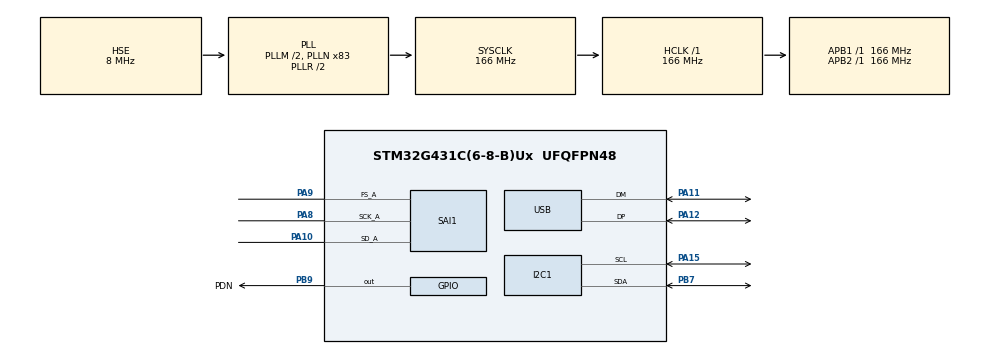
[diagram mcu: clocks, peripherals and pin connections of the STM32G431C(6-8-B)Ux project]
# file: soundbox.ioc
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Dma.Request0=SAI1_A
Dma.SAI1_A.0.Direction=DMA_MEMORY_TO_PERIPH
Dma.SAI1_A.0.EventEnable=DISABLE
Dma.SAI1_A.0.Instance=DMA1_Channel1
Dma.SAI1_A.0.MemDataAlignment=DMA_MDATAALIGN_WORD
Dma.SAI1_A.0.MemInc=DMA_MINC_ENABLE
Dma.SAI1_A.0.Mode=DMA_CIRCULAR
Dma.SAI1_A.0.PeriphDataAlignment=DMA_PDATAALIGN_WORD
Dma.SAI1_A.0.PeriphInc=DMA_PINC_DISABLE
Dma.SAI1_A.0.Polarity=HAL_DMAMUX_REQ_GEN_RISING
Dma.SAI1_A.0.Priority=DMA_PRIORITY_LOW
Dma.SAI1_A.0.RequestNumber=1
Dma.SAI1_A.0.SignalID=NONE
Dma.SAI1_A.0.SyncEnable=DISABLE
Dma.SAI1_A.0.SyncPolarity=HAL_DMAMUX_SYNC_NO_EVENT
Dma.SAI1_A.0.SyncRequestNumber=1
Dma.SAI1_A.0.SyncSignalID=NONE
I2C1.Timing=0x00503D58
Mcu.Family=STM32G4
Mcu.Name=STM32G431C(6-8-B)Ux
Mcu.Package=UFQFPN48
NVIC.DMA1_Channel1_IRQn=true\:0\:0\:false\:false\:true\:false\:true\:true
NVIC.PriorityGroup=NVIC_PRIORITYGROUP_4
NVIC.SAI1_IRQn=true\:0\:0\:false\:false\:true\:true\:true\:true
NVIC.USB_HP_IRQn=true\:0\:0\:false\:false\:true\:true\:true\:true
NVIC.USB_LP_IRQn=true\:0\:0\:false\:false\:true\:false\:true\:true
PA10.Mode=SAI_A_Master
PA10.Signal=SAI1_SD_A
PA11.Mode=Device
PA11.Signal=USB_DM
PA12.Mode=Device
PA12.Signal=USB_DP
PA13.Mode=Serial_Wire
PA13.Signal=SYS_JTMS-SWDIO
PA14.Mode=Serial_Wire
PA14.Signal=SYS_JTCK-SWCLK
PA15.Mode=I2C
PA15.Signal=I2C1_SCL
PA8.Mode=SAI_A_Master
PA8.Signal=SAI1_SCK_A
PA9.Mode=SAI_A_Master
PA9.Signal=SAI1_FS_A
PB7.Mode=I2C
PB7.Signal=I2C1_SDA
PB9.GPIO_FM9=SYSCFG_FASTMODEPLUS_PB9
PB9.GPIO_Label=PDN
PB9.GPIO_PuPd=GPIO_PULLDOWN
PB9.GPIO_Speed=GPIO_SPEED_FREQ_VERY_HIGH
PB9.Signal=GPIO_Output
PF0-OSC_IN.Mode=HSE-External-Oscillator
PF0-OSC_IN.Signal=RCC_OSC_IN
PF1-OSC_OUT.Mode=HSE-External-Oscillator
PF1-OSC_OUT.Signal=RCC_OSC_OUT
ProjectManager.HeapSize=0x200
ProjectManager.StackSize=0x400
ProjectManager.TargetToolchain=CMake
RCC.ADC12Freq_Value=166000000
RCC.AHBFreq_Value=166000000
RCC.APB1Freq_Value=166000000
RCC.APB1TimFreq_Value=166000000
RCC.APB2Freq_Value=166000000
RCC.APB2TimFreq_Value=166000000
RCC.CK48CLockSelection=RCC_USBCLKSOURCE_HSI48
RCC.CortexFreq_Value=166000000
RCC.EXTERNAL_CLOCK_VALUE=12288000
RCC.HCLKFreq_Value=166000000
RCC.HSE_VALUE=8000000
RCC.HSI48_VALUE=48000000
RCC.HSI_VALUE=16000000
RCC.I2C1CLockSelection=RCC_I2C1CLKSOURCE_HSI
RCC.LSE_VALUE=32768
RCC.PLLM=RCC_PLLM_DIV2
RCC.PLLN=83
RCC.PLLQ=RCC_PLLQ_DIV6
RCC.PLLSourceVirtual=RCC_PLLSOURCE_HSE
RCC.SYSCLKFreq_VALUE=166000000
RCC.SYSCLKSource=RCC_SYSCLKSOURCE_PLLCLK
RCC.USBFreq_Value=48000000
RCC.VCOOutputFreq_Value=332000000
SAI1.AudioFrequency-SAI_A_Master=SAI_AUDIO_FREQUENCY_48K
SAI1.BasicDataSize-SAI_A_Master=SAI_PROTOCOL_DATASIZE_32BIT
SAI1.FIFOThreshold-SAI_A_Master=SAI_FIFOTHRESHOLD_1QF
SAI1.InitProtocol-SAI_A_Master=Enable
SAI1.Instance-SAI_A_Master=SAI$Index_Block_A
SAI1.MckOutput-SAI_A_Master=SAI_MCK_OUTPUT_DISABLE
SAI1.MonoStereoMode-SAI_A_Master=SAI_STEREOMODE
SAI1.OutputDrive-SAI_A_Master=SAI_OUTPUTDRIVE_ENABLE
SAI1.VirtualMode-SAI_A_Master=VM_MASTER
SAI1.VirtualProtocol-SAI_A_BASIC=VM_BASIC_PROTOCOL
USB_DEVICE.CLASS_NAME_FS=AUDIO
USB_DEVICE.MANUFACTURER_STRING=JYY
USB_DEVICE.PID_AUDIO_FS=0x5730
USB_DEVICE.PRODUCT_STRING_AUDIO_FS=Speaker
USB_DEVICE.USBD_AUDIO_FREQ=48000
USB_DEVICE.VID=0x483
USB_DEVICE.VirtualMode=Audio
USB_DEVICE.VirtualModeFS=Audio_FS
VP_SAI1_VP_$IpInstance_SAIA_SAI_BASIC.Mode=SAI_A_BASIC
VP_SYS_VS_DBSignals.Mode=DisableDeadBatterySignals
VP_USB_DEVICE_VS_USB_DEVICE_AUDIO_FS.Mode=AUDIO_FS
board=custom

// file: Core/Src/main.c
/* USER CODE BEGIN Header */
/**
  ******************************************************************************
  * @file           : main.c
  * @brief          : Main program body
  ******************************************************************************
  * @attention
  *
  * Copyright (c) 2025 STMicroelectronics.
  * All rights reserved.
  *
  * This software is licensed under terms that can be found in the LICENSE file
  * in the root directory of this software component.
  * If no LICENSE file comes with this software, it is provided AS-IS.
  *
  ******************************************************************************
  */
/* USER CODE END Header */
#include "main.h"
#include "dma.h"
#include "i2c.h"
#include "sai.h"
#include "usb_device.h"
#include "gpio.h"

/* USER CODE BEGIN Includes */
#include "arm_math.h"
#include <math.h>
#include <stdint.h>
/* USER CODE END Includes */

/* USER CODE BEGIN PV */
/* 音频缓冲区约10ms (48000 * 0.01 * 2 * 4 = 3840字节) - 适合32KB RAM */
uint8_t audio_data_temp[480*2*4];  /* 10ms @ 48kHz, stereo, 32-bit */
/* USER CODE END PV */

void SystemClock_Config(void);
/* USER CODE BEGIN PFP */
void fill_test_tone_32bit_pcm(uint8_t *buf, size_t buf_bytes, uint32_t sample_rate, float freq_hz);
/* USER CODE END PFP */

/* USER CODE BEGIN 0 */

Audio_t audio;

extern void TransferComplete_CallBack_FS(void);
extern void HalfTransfer_CallBack_FS(void);

/* DMA传输完成回调 - 循环模式不需要重启 */
void HAL_SAI_TxCpltCallback(SAI_HandleTypeDef *hsai){
  /* 循环DMA模式下，硬件自动重启，无需手动操作 */

  /* 调用USB音频回调 */
  // TransferComplete_CallBack_FS();
}

void HAL_SAI_TxHalfCpltCallback(SAI_HandleTypeDef *hsai){
  // HalfTransfer_CallBack_FS();
}

#define ACM_I2C_ADDR       0x58        /* 7-bit device addr (ADR=15k => 0x5A) */
#define ACM_I2C_TIMEOUT    2000

static HAL_StatusTypeDef acm_write_reg(uint8_t reg, uint8_t val)
{
    uint8_t buf[2] = { reg, val };
    return HAL_I2C_Master_Transmit(&hi2c1, ACM_I2C_ADDR, buf, 2, ACM_I2C_TIMEOUT);
}

static HAL_StatusTypeDef acm_read_reg(uint8_t reg, uint8_t *pval)
{
    HAL_StatusTypeDef st;
    st = HAL_I2C_Master_Transmit(&hi2c1, ACM_I2C_ADDR, &reg, 1, ACM_I2C_TIMEOUT);
    if (st != HAL_OK) return st;
    return HAL_I2C_Master_Receive(&hi2c1, ACM_I2C_ADDR, pval, 1, ACM_I2C_TIMEOUT);
}

HAL_StatusTypeDef xxx;
/* --- ACM8625P init sequence (minimal) --- */
void ACM_PowerUp_And_Init(void)
{
    HAL_Delay(10);

    /* 1) Ensure PDN is high (PDN low = shutdown) */
    HAL_GPIO_WritePin(PDN_GPIO_Port, PDN_Pin, GPIO_PIN_SET);
    HAL_Delay(5);

    /* 2) Optionally clear faults (write FAULT_CLR bit in AMP_CTRL1 reg 0x01) */
    xxx = acm_write_reg(0x01, 0x80); /* FAULT_CLR = 1 (auto-clear) */

    /* 3) Configure I2S format: write register 0x07
       Bits [5:4] = I2S format (00 = I2S), Bits [1:0] = word length (00 = 16-bit)
       So 0x00 -> I2S + 16-bit + default 44k flags off.
       0x03 -> I2S + 32-bit + 48kHz (for 48kHz input)
    */
    xxx = acm_write_reg(0x07, 0x03);

    /* 4) (Optional) Set volumes (0x0F, 0x10). Default is 0xD0; keep as default or change. */
    xxx = acm_write_reg(0x0F, 0xC0); /* left volume example */
    xxx = acm_write_reg(0x10, 0xC0); /* right volume example */

    HAL_Delay(5);

    /* 5) Set STATE_CTRL (reg 0x04) CTRL_STATE = 0b11 (Play) -> set lower 2 bits = 3 */
    /* Keep other bits default (muting bits = 0) */
    xxx = acm_write_reg(0x04, 0x03);

    HAL_Delay(10);
}

/* 对齐模式常量 */
#define ALIGN_LEFT     0   /* 16-bit/24-bit left-aligned (常见) */
#define ALIGN_RIGHT    1   /* 16-bit right-aligned in low bits */

/* 填充 32-bit PCM (signed) 的函数 - 左声道sin，右声道cos */
void fill_test_tone_32bit_pcm(uint8_t *buf, size_t buf_bytes,
                             uint32_t sample_rate, float freq_hz)
{
    const uint32_t channels = 2;
    const uint32_t bytes_per_slot = 4; /* 32-bit slot */
    size_t frames = buf_bytes / (channels * bytes_per_slot);
    const float two_pi = 2.0f * 3.14159265358979323846f;

    /* 振幅：int32 安全值，避免接近饱和（不要用 0x7FFFFFFF） */
    const float max32 = (float)0x5FFFF; /* 30-bit safe amplitude */

    /* 保持原始的相位增量，确保频率准确 */
    float phase_inc = two_pi * freq_hz / (float)sample_rate;

    /* 对于循环DMA，我们生成标准的正弦波，让硬件处理循环 */
    /* 虽然可能有轻微的相位跳跃，但保证波形的正确性 */

    for (size_t n = 0; n < frames; ++n) {
        float phase = n * phase_inc;

        /* 左声道：sin信号，右声道：cos信号 */
        float sin_val = sinf(phase);     /* -1..1 */
        float cos_val = cosf(phase);     /* -1..1 */

        int32_t left_sample = (int32_t)(sin_val * max32);
        int32_t right_sample = (int32_t)(cos_val * max32);

        /* 小端写入：每个 slot 一个 32-bit signed sample */
        size_t idx = n * channels * bytes_per_slot;

        /* left channel (sin) */
        buf[idx + 0] = (uint8_t)(left_sample & 0xFF);
        buf[idx + 1] = (uint8_t)((left_sample >> 8) & 0xFF);
        buf[idx + 2] = (uint8_t)((left_sample >> 16) & 0xFF);
        buf[idx + 3] = (uint8_t)((left_sample >> 24) & 0xFF);

        /* right channel (cos) */
        buf[idx + 4] = (uint8_t)(right_sample & 0xFF);
        buf[idx + 5] = (uint8_t)((right_sample >> 8) & 0xFF);
        buf[idx + 6] = (uint8_t)((right_sample >> 16) & 0xFF);
        buf[idx + 7] = (uint8_t)((right_sample >> 24) & 0xFF);
    }
}

/* 使用示例：在 SAI/hal 初始化并且 ACM 初始化完后调用一次 */
void prepare_and_start_32bit_playback(void)
{
    /* 使用500Hz测试信号：480帧缓冲区正好包含5个完整周期(480*500/48000=5) */
    /* 这样循环DMA播放时首尾能完美连接，左声道sin，右声道cos */
    fill_test_tone_32bit_pcm(audio_data_temp, sizeof(audio_data_temp), 48000, 500.0f);

    /* HAL_SAI_Transmit_DMA 的 Size 参数应为 32-bit 单元数（不是字节数） */
    uint32_t words32 = sizeof(audio_data_temp) / 4; /* 3840 / 4 = 960 */

    /* 启动循环DMA传输（一次启动，硬件自动循环播放无缝的波形） */
    HAL_SAI_Transmit_DMA(&hsai_BlockA1, (uint8_t*)audio_data_temp, words32);
}

/* USER CODE END 0 */

int main(void)
{

  /* MCU Configuration--------------------------------------------------------*/

  /* Reset of all peripherals, Initializes the Flash interface and the Systick. */
  HAL_Init();

  /* Configure the system clock */
  SystemClock_Config();

  /* Initialize all configured peripherals */
  MX_GPIO_Init();
  MX_DMA_Init();
  MX_I2C1_Init();
  MX_SAI1_Init();
  MX_USB_Device_Init();
  /* USER CODE BEGIN 2 */

  ACM_PowerUp_And_Init();
  prepare_and_start_32bit_playback();

  /* USER CODE END 2 */

  /* Infinite loop */
  while (1)
  {

    /* USER CODE BEGIN 3 */
    /* DMA传输由回调函数自动重启，这里只需要处理其他任务 */
    HAL_Delay(100);  /* 可以用来处理其他任务或降低CPU占用 */

  }
  /* USER CODE END 3 */
}

void SystemClock_Config(void)
{
  RCC_OscInitTypeDef RCC_OscInitStruct = {0};
  RCC_ClkInitTypeDef RCC_ClkInitStruct = {0};

  /** Configure the main internal regulator output voltage
  */
  HAL_PWREx_ControlVoltageScaling(PWR_REGULATOR_VOLTAGE_SCALE1_BOOST);

  /** Initializes the RCC Oscillators according to the specified parameters
  * in the RCC_OscInitTypeDef structure.
  */
  RCC_OscInitStruct.OscillatorType = RCC_OSCILLATORTYPE_HSI|RCC_OSCILLATORTYPE_HSI48
                              |RCC_OSCILLATORTYPE_HSE;
  RCC_OscInitStruct.HSEState = RCC_HSE_ON;
  RCC_OscInitStruct.HSIState = RCC_HSI_ON;
  RCC_OscInitStruct.HSICalibrationValue = RCC_HSICALIBRATION_DEFAULT;
  RCC_OscInitStruct.HSI48State = RCC_HSI48_ON;
  RCC_OscInitStruct.PLL.PLLState = RCC_PLL_ON;
  RCC_OscInitStruct.PLL.PLLSource = RCC_PLLSOURCE_HSE;
  RCC_OscInitStruct.PLL.PLLM = RCC_PLLM_DIV2;
  RCC_OscInitStruct.PLL.PLLN = 83;
  RCC_OscInitStruct.PLL.PLLP = RCC_PLLP_DIV2;
  RCC_OscInitStruct.PLL.PLLQ = RCC_PLLQ_DIV6;
  RCC_OscInitStruct.PLL.PLLR = RCC_PLLR_DIV2;
  if (HAL_RCC_OscConfig(&RCC_OscInitStruct) != HAL_OK)
  {
    Error_Handler();
  }

  /** Initializes the CPU, AHB and APB buses clocks
  */
  RCC_ClkInitStruct.ClockType = RCC_CLOCKTYPE_HCLK|RCC_CLOCKTYPE_SYSCLK
                              |RCC_CLOCKTYPE_PCLK1|RCC_CLOCKTYPE_PCLK2;
  RCC_ClkInitStruct.SYSCLKSource = RCC_SYSCLKSOURCE_PLLCLK;
  RCC_ClkInitStruct.AHBCLKDivider = RCC_SYSCLK_DIV1;
  RCC_ClkInitStruct.APB1CLKDivider = RCC_HCLK_DIV1;
  RCC_ClkInitStruct.APB2CLKDivider = RCC_HCLK_DIV1;

  if (HAL_RCC_ClockConfig(&RCC_ClkInitStruct, FLASH_LATENCY_4) != HAL_OK)
  {
    Error_Handler();
  }
}

void Error_Handler(void)
{
  __disable_irq();
  while (1)
  {
  }
}
